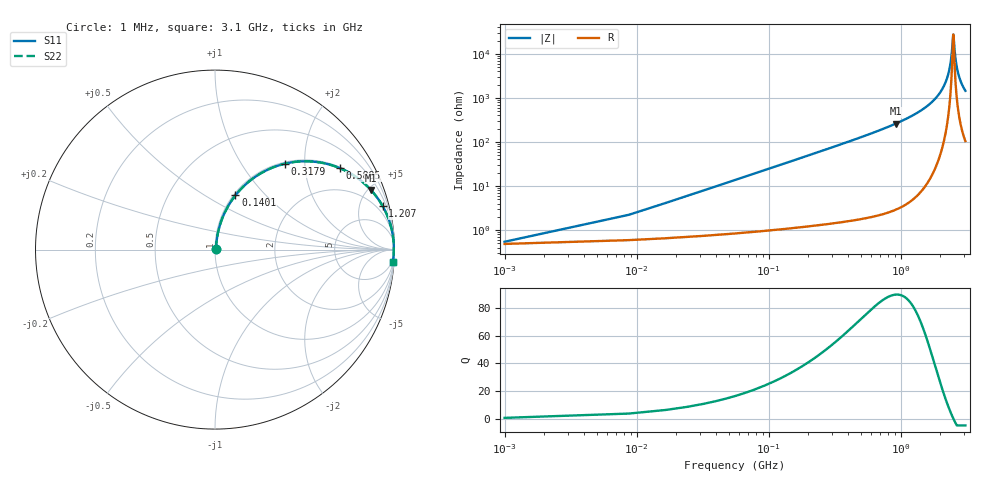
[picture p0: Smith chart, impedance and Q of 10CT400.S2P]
! Coilcraft 1008CT-400 Chip Inductor
! 17 July 2002
# MHZ S MA R 50
!Freq  MagS11  AngS11  MagS21  AngS21  MagS12  AngS12  MagS22  AngS22
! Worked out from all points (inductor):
!   402 points, 1 MHz to 3.1 GHz, reference 50 ohm
!   read as one part in series: L = 39 nH near 16.46 MHz
!   highest Q = 89.9 at 920.9 MHz (marker M1), where L = 45.1 nH
!   self-resonance near 2.506 GHz
!   S11 on the Smith chart (normalised r, x): 1 MHz: 1.01, +0.00; 140.1 MHz: 1.02, +0.69; 317.9 MHz: 1.03, +1.58; 588.5 MHz: 1.04, +3.05; 1.207 GHz: 1.09, +7.69; 3.1 GHz: 3, -29
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1  0.005402 26.7  0.9952 -0.1  0.9952 -0.1  0.005402 26.7
24.19  0.05917 79.9  0.9914 -3.4  0.9914 -3.4  0.05917 79.9
39.65  0.0963 79.9  0.9877 -5.5  0.9877 -5.5  0.0963 79.9
78.3  0.1872 76.5  0.9735 -10.8  0.9735 -10.8  0.1872 76.5
140.14  0.3227 69.4  0.9364 -18.8  0.9364 -18.8  0.3227 69.4
317.93  0.6154 51.0  0.7771 -38.0  0.7771 -38.0  0.6154 51.0
518.91  0.7938 36.7  0.5975 -52.5  0.5975 -52.5  0.7938 36.7
588.48  0.8316 33.0  0.5449 -56.3  0.5449 -56.3  0.8316 33.0
920.87  0.9302 20.9  0.3568 -68.5  0.3568 -68.5  0.9302 20.9
1036.82  0.9475 18.0  0.3093 -71.3  0.3093 -71.3  0.9475 18.0
1206.88  0.965 14.5  0.2509 -74.8  0.2509 -74.8  0.965 14.5
1554.73  0.9846 9.2  0.1594 -79.9  0.1594 -79.9  0.9846 9.2
2072.64  0.9951 3.6  0.06254 -83.7  0.06254 -83.7  0.9951 3.6
2234.97  0.9961 2.2  0.03797 -83.1  0.03797 -83.1  0.9961 2.2
2350.92  0.9964 1.2  0.02166 -79.9  0.02166 -79.9  0.9964 1.2
2428.22  0.9965 0.6  0.01145 -71.8  0.01145 -71.8  0.9965 0.6
2505.52  0.9964 0.0  0.003682 -12.1  0.003682 -12.1  0.9964 0.0
2528.71  0.9964 -0.1  0.004262 31.1  0.004262 31.1  0.9964 -0.1
2590.55  0.9962 -0.6  0.01071 68.9  0.01071 68.9  0.9962 -0.6
2667.85  0.9959 -1.1  0.01994 77.5  0.01994 77.5  0.9959 -1.1
2768.34  0.9954 -1.8  0.0318 80.7  0.0318 80.7  0.9954 -1.8
3100  0.9927 -3.9  0.06856 82.0  0.06856 82.0  0.9927 -3.9
